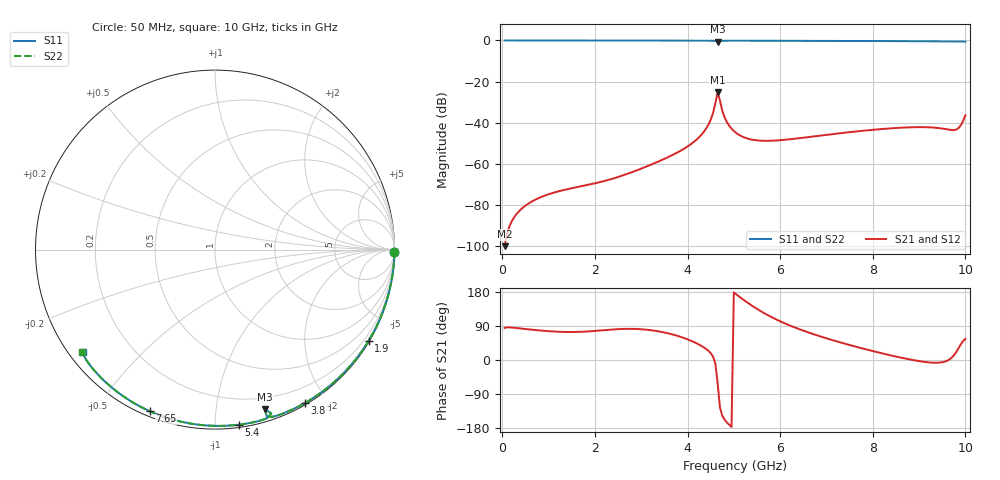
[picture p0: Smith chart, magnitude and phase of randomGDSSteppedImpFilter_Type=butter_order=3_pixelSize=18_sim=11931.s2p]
! freq	dB(S11)	phase(S11)	dB(S12)	phase(S12)
!  dB(S21)	phase(S21)	dB(S22)	phase(S22)
!S-par simulation data
#  GHz  S  DB  R 50
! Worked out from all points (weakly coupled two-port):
!   200 points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, 50 MHz to 10 GHz, reference 50 ohm
!   highest |S21| = -25.23 dB at 4.65 GHz (marker M1); lowest = -100.0 dB at 50 MHz (marker M2)
!   lowest |S11| = -0.6 dB at 4.65 GHz (marker M3), VSWR 28.72, Z = 4.96 - j67.9 ohm
!   |S11| at or under -10 dB: nowhere
!   |S22| runs from -0.6 to 0.0 dB; largest |S21 - S12| = 0
!   S11 on the Smith chart (normalised r, x): 50 MHz: open; 1.9 GHz: 0.03, -3.65; 3.8 GHz: 0.02, -1.74; 5.4 GHz: 0.02, -1.15; 7.65 GHz: 0.02, -0.67; 10 GHz: 0.04, -0.34
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0.05  -0.00 -0.8  -100.01 84.6  -100.01 84.6  -0.00 -0.8
0.5  -0.01 -8.2  -80.30 81.8  -80.30 81.8  -0.01 -8.2
1  -0.02 -16.3  -74.77 76.0  -74.77 76.0  -0.02 -16.3
1.75  -0.04 -28.3  -70.67 74.7  -70.67 74.7  -0.04 -28.3
1.9  -0.04 -30.6  -69.95 75.8  -69.95 75.8  -0.04 -30.6
3.4  -0.07 -53.8  -58.56 75.0  -58.56 75.0  -0.07 -53.8
3.8  -0.08 -59.7  -54.23 63.1  -54.23 63.1  -0.08 -59.8
4.15  -0.09 -64.9  -49.07 46.7  -49.07 46.7  -0.09 -65.0
4.4  -0.10 -68.8  -42.90 29.2  -42.90 29.2  -0.10 -68.8
4.55  -0.14 -71.5  -35.36 9.0  -35.36 9.0  -0.15 -71.5
4.65  -0.61 -72.6  -25.23 -61.0  -25.23 -61.0  -0.61 -72.6
4.8  -0.14 -73.3  -37.38 -157.6  -37.38 -157.6  -0.14 -73.3
4.9  -0.13 -75.0  -41.47 -171.0  -41.47 -171.0  -0.13 -75.0
5.05  -0.12 -77.2  -44.94 173.5  -44.94 173.5  -0.12 -77.3
5.4  -0.13 -82.2  -48.26 142.7  -48.26 142.7  -0.13 -82.3
6.7  -0.19 -99.8  -46.72 68.9  -46.72 68.9  -0.19 -99.8
7.65  -0.26 -112.0  -44.21 34.6  -44.21 34.6  -0.26 -112.0
8.35  -0.31 -120.9  -42.79 13.3  -42.79 13.3  -0.31 -120.9
9.15  -0.39 -130.9  -42.18 -5.5  -42.18 -5.5  -0.39 -130.9
9.75  -0.48 -138.6  -43.57 12.1  -43.57 12.1  -0.48 -138.7
9.9  -0.53 -140.7  -41.26 41.1  -41.26 41.1  -0.53 -140.8
10  -0.59 -142.2  -36.42 55.6  -36.42 55.6  -0.60 -142.3
